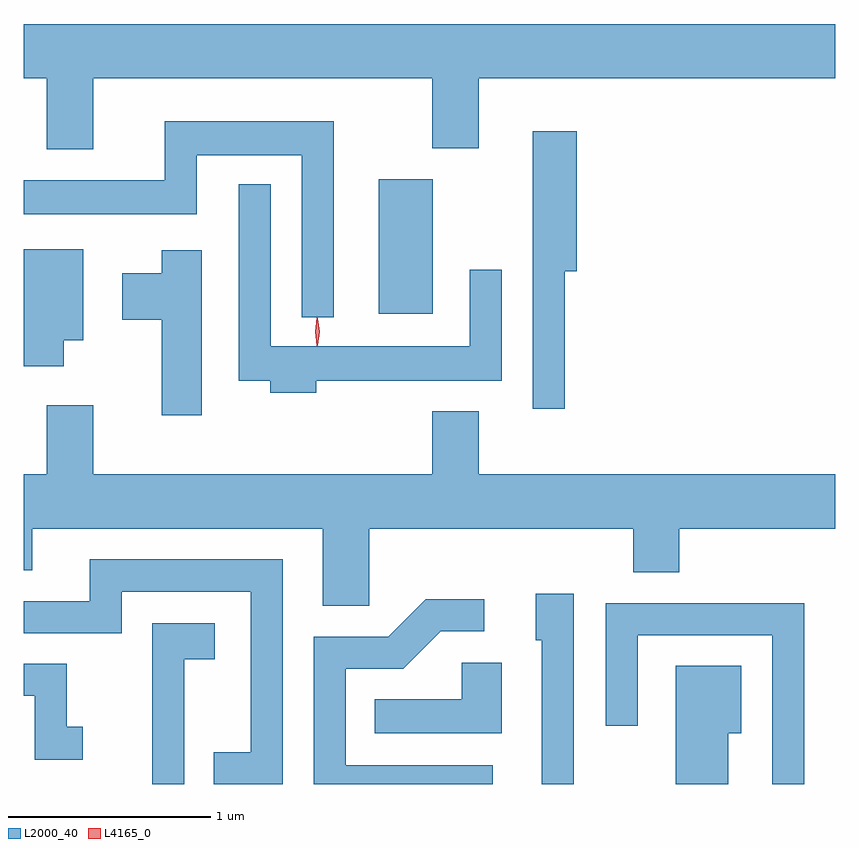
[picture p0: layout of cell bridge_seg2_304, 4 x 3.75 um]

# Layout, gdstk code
import gdstk
lib = gdstk.Library(unit=1e-6, precision=1e-09)
def R(c, l, rs):  # rectangles x0, y0, x1, y1
    for r in rs: c.add(gdstk.rectangle(r[:2], r[2:], *l))
def P(c, l, *ps):  # polygons
    for p in ps: c.add(gdstk.Polygon(p, *l))
L2000_40 = (2000, 40)
L4165_0 = (4165, 0)

bridge_seg2_304 = lib.new_cell('bridge_seg2_304')
R(bridge_seg2_304, L2000_40, [(412.096,1069.356,412.364,1070.019)])
P(bridge_seg2_304, L2000_40, [(410.689,1070.516),(412.361,1070.516),(412.361,1070.171),(412.589,1070.171),(412.589,1070.516),(414.347,1070.516),(414.347,1070.784),(410.347,1070.784),(410.347,1070.516),(410.461,1070.516),(410.461,1070.166),(410.689,1070.166)],
  [(411.874,1070.304),(411.041,1070.304),(411.041,1070.014),(410.347,1070.014),(410.347,1069.846),(411.199,1069.846),(411.199,1070.136),(411.716,1070.136),(411.716,1069.338),(411.874,1069.338)],
  [(413.014,1069.566),(413.074,1069.566),(413.074,1070.254),(412.856,1070.254),(412.856,1068.888),(413.014,1068.888)],
  [(411.789,1069.026),(412.704,1069.026),(412.704,1069.573),(412.546,1069.573),(412.546,1069.194),(411.564,1069.194),(411.564,1069.993),(411.406,1069.993),(411.406,1069.026),(411.561,1069.026),(411.561,1068.966),(411.789,1068.966)],
  [(410.544,1069.226),(410.639,1069.226),(410.639,1069.674),(410.347,1069.674),(410.347,1069.096),(410.544,1069.096)],
  [(411.224,1069.669),(411.026,1069.669),(411.026,1069.554),(410.831,1069.554),(410.831,1069.326),(411.026,1069.326),(411.026,1068.856),(411.224,1068.856)],
  [(412.049,1068.296),(413.351,1068.296),(413.351,1068.081),(413.579,1068.081),(413.579,1068.296),(414.347,1068.296),(414.347,1068.564),(412.589,1068.564),(412.589,1068.874),(412.361,1068.874),(412.361,1068.564),(410.689,1068.564),(410.689,1068.904),(410.461,1068.904),(410.461,1068.564),(410.347,1068.564),(410.347,1068.091),(410.389,1068.091),(410.389,1068.296),(411.821,1068.296),(411.821,1067.916),(412.049,1067.916)],
  [(411.624,1068.144),(410.671,1068.144),(410.671,1067.939),(410.347,1067.939),(410.347,1067.781),(410.829,1067.781),(410.829,1067.986),(411.466,1067.986),(411.466,1067.194),(411.283,1067.194),(411.283,1067.037),(411.624,1067.037)],
  [(413.059,1067.974),(412.871,1067.974),(412.871,1067.746),(412.901,1067.746),(412.901,1067.037),(413.059,1067.037)],
  [(412.658,1067.129),(411.934,1067.129),(411.934,1067.606),(412.217,1067.606),(412.402,1067.791),(412.618,1067.791),(412.618,1067.949),(412.329,1067.949),(412.144,1067.764),(411.776,1067.764),(411.776,1067.037),(412.658,1067.037)],
  [(414.194,1067.929),(413.216,1067.929),(413.216,1067.323),(413.374,1067.323),(413.374,1067.771),(414.036,1067.771),(414.036,1067.037),(414.194,1067.037)],
  [(411.139,1067.651),(411.289,1067.651),(411.289,1067.829),(410.981,1067.829),(410.981,1067.037),(411.139,1067.037)],
  [(412.704,1067.634),(412.506,1067.634),(412.506,1067.454),(412.078,1067.454),(412.078,1067.286),(412.704,1067.286)],
  [(410.638,1067.319),(410.559,1067.319),(410.559,1067.629),(410.347,1067.629),(410.347,1067.471),(410.401,1067.471),(410.401,1067.156),(410.638,1067.156)],
  [(413.819,1067.286),(413.884,1067.286),(413.884,1067.619),(413.561,1067.619),(413.561,1067.037),(413.819,1067.037)])
P(bridge_seg2_304, L4165_0, [(411.792,1069.197),(411.783,1069.267),(411.792,1069.336),(411.793,1069.336),(411.793,1069.336),(411.803,1069.267),(411.793,1069.197),(411.793,1069.197)],
  [(411.795,1069.199),(411.794,1069.2),(411.785,1069.266),(411.794,1069.332),(411.795,1069.333),(411.795,1069.332),(411.805,1069.266),(411.795,1069.2)])

lib.write_gds('bridge_seg2_304.gds')
